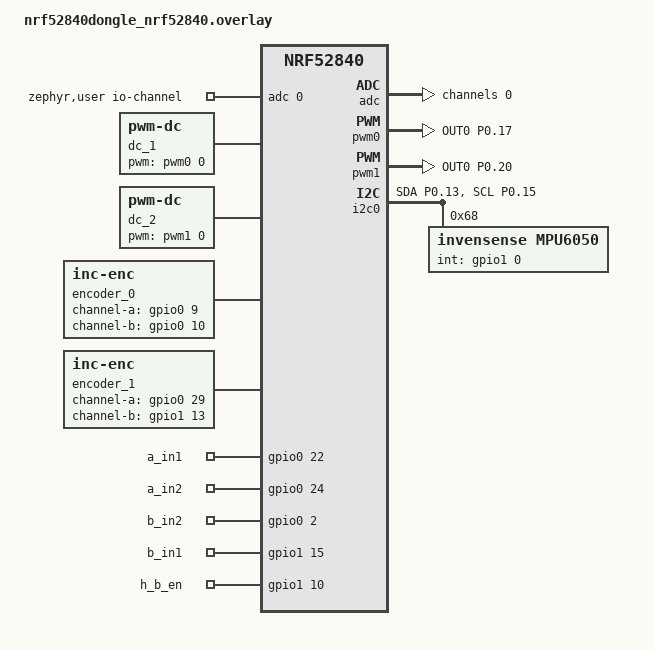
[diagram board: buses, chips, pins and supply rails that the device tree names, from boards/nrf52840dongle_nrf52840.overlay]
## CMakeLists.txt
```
cmake_minimum_required(VERSION 3.20.0)

find_package(Zephyr REQUIRED HINTS $ENV{ZEPHYR_BASE})

project(self-balancing-robot C CXX)

FILE(GLOB app_sources src/*.cpp)

target_sources(app PRIVATE ${app_sources})
```

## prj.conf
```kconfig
CONFIG_CPP=y
CONFIG_STD_CPP17=y
CONFIG_REQUIRES_FULL_LIBCPP=y

# Enable battery controller and logs:
CONFIG_BATTERY_LEVEL_DRV=y
CONFIG_BATTERY_LEVEL_LOG=n

# Enable motor controller and logs:
CONFIG_MOTOR_CONTROLLER_DRV=y
CONFIG_MOTOR_CONTROLLER_LOG=n

# Enable interface controller and logs:
CONFIG_INTERFACE_DRV=y
CONFIG_INTERFACE_LOG=n

# Enable IMU driver, logs and IMU calibration:
CONFIG_IMU_DRV=y
CONFIG_IMU_LOG=n
CONFIG_IMU_CALIBRATE_GYRO=n

# Enable robot control loop and logs:
CONFIG_ROBOT_CONTROL=y
CONFIG_ROBOT_CONTROL_LOG=y

# Balance controller selection: PID - y, LQR - n:
CONFIG_PID_ENABLED=y

# Enable model identification driver and logs:
CONFIG_MODEL_IDENTIFICATION_DRV=n
CONFIG_MODEL_IDENTIFICATION_LOG=n

# Enable logs from utils module:
CONFIG_UTILS_LOG=n

# Enable logger drivers:
CONFIG_LOGGER_DRV=y
CONFIG_LOG_OVER_SERIAL=y
CONFIG_LOG_OVER_BLE=y

# Enable app log:
CONFIG_APP_LOG=y

# Enable debug:
CONFIG_APP_DEBUG=y

# Enable FPU module for proper floats handling:
CONFIG_FPU=y

# ±4g for accelerometer:
CONFIG_MPU6050_ACCEL_FS=2

# ±500°/s for gyro: 
CONFIG_MPU6050_GYRO_FS=250

CONFIG_ENCODER_DRV=y

# Enable FOTA over Bluetooth LE
CONFIG_NCS_SAMPLE_MCUMGR_BT_OTA_DFU=y

CONFIG_BOARD_HAS_NRF5_BOOTLOADER=n

CONFIG_SHELL_DRV=y
```

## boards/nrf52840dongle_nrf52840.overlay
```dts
/ {
    zephyr,user {
        io-channels = <&adc 0>;
    };
};


&adc {
    status = "okay";
    #address-cells = <1>;
    #size-cells = <0>;

    channel@0 {
        reg = <0>;
        zephyr,gain = "ADC_GAIN_1_6";
        zephyr,reference = "ADC_REF_INTERNAL";
        zephyr,acquisition-time = <ADC_ACQ_TIME_DEFAULT>;
        zephyr,input-positive = <NRF_SAADC_AIN7>; /* P0.31 for nRF52840 Dongle */
        zephyr,resolution = <12>;
        zephyr,oversampling = <8>;
    };
};

&gpio0 {
    status = "okay";
    a_in_pins {
        compatible = "gpio-keys";
        a_in1: a_in1 {
            gpios = <&gpio0 22 GPIO_ACTIVE_HIGH>;
        };
        a_in2: a_in2 {
            gpios = <&gpio0 24 GPIO_ACTIVE_HIGH>;
        };
    };
    b_in_pins{
        compatible = "gpio-keys";
        b_in2: b_in2 {
            gpios = <&gpio0 2 GPIO_ACTIVE_HIGH>;
        };
    };
};

&gpio1 {
    status = "okay";
    b_in_pins{
        compatible = "gpio-keys";
        b_in1: b_in1 {
            gpios = <&gpio1 15 GPIO_ACTIVE_HIGH>;
        };
    };
    h_bridge_en_pin{
        compatible = "gpio-keys";
        h_b_en: h_b_en {
            gpios = <&gpio1 10 GPIO_ACTIVE_HIGH>;
        };
    };
};

/ {
    dc_1: dc_1 {
        compatible = "pwm-dc";
        pwms = <&pwm0 0 PWM_MSEC(20) PWM_POLARITY_NORMAL>;
    };

    dc_2: dc_2 {
        compatible = "pwm-dc";
        pwms = <&pwm1 0 PWM_MSEC(20) PWM_POLARITY_NORMAL>;
    };
};

/ {
    encoder_0: encoder_0 {
        compatible = "inc-enc";
        channel-a-gpios = <&gpio0 9 GPIO_ACTIVE_HIGH>;
        channel-b-gpios = <&gpio0 10 GPIO_ACTIVE_HIGH>;
    };

    encoder_1: encoder_1 {
        compatible = "inc-enc";
        channel-a-gpios = <&gpio0 29 GPIO_ACTIVE_HIGH>;
        channel-b-gpios = <&gpio1 13 GPIO_ACTIVE_HIGH>;
    };
};

&pwm0 {
    status = "okay";
    pinctrl-0 = <&pwm0_custom_motor>;
    pinctrl-1 = <&pwm0_csleep_motor>;
    pinctrl-names = "default", "sleep";
};

&pwm1 {
    status = "okay";
    pinctrl-0 = <&pwm1_custom_motor>;
    pinctrl-1 = <&pwm1_csleep_motor>;
    pinctrl-names = "default", "sleep";
};

&pinctrl {
    pwm0_custom_motor: pwm0_custom_motor {
        group1 {
            psels = <NRF_PSEL(PWM_OUT0, 0, 17)>;
            /*nordic,invert; - uncoment this if negative PWM is needed*/
        };
    };

    pwm0_csleep_motor: pwm0_csleep_motor {
        group1 {
            psels = <NRF_PSEL(PWM_OUT0, 0, 17)>;
            low-power-enable;
        };
    };

    pwm1_custom_motor: pwm1_custom_motor {
        group1 {
            psels = <NRF_PSEL(PWM_OUT0, 0, 20)>;
            /*nordic,invert; - uncoment this if negative PWM is needed*/
        };
    };

    pwm1_csleep_motor: pwm1_csleep_motor {
        group1 {
            psels = <NRF_PSEL(PWM_OUT0, 0, 20)>;
            low-power-enable;
        };
    };

    i2c0_default: i2c0_default {
        group1 {
            psels = <NRF_PSEL(TWIM_SDA, 0, 13)>,
                    <NRF_PSEL(TWIM_SCL, 0, 15)>;
        };
    };

    i2c0_sleep: i2c0_sleep {
        group1 {
            psels = <NRF_PSEL(TWIM_SDA, 0, 13)>,
                    <NRF_PSEL(TWIM_SCL, 0, 15)>;
        };
    };
};

/* Disabling uart to make pwm work - default uart pins and out pwm configuration overlaps which was causing pwm not to work properly */
&uart0 {
    compatible = "nordic,nrf-uarte";
    status = "disabled";
    current-speed = <115200>;
    pinctrl-0 = <&uart0_default>;
    pinctrl-1 = <&uart0_sleep>;
    pinctrl-names = "default", "sleep";
};

&i2c0 {
    status = "okay";
    pinctrl-0 = <&i2c0_default>;
    pinctrl-1 = <&i2c0_sleep>;
    pinctrl-names = "default", "sleep";

    mpu6050@68 {
        compatible = "invensense,mpu6050";
        reg = <0x68>;
        status = "okay";
        int-gpios = <&gpio1 0 GPIO_ACTIVE_HIGH>;
    };
};
```

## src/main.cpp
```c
#pragma GCC diagnostic ignored "-Wdouble-promotion"

#include "shell.h"

#ifdef CONFIG_APP_LOG
#include "logger.h"
#endif  // CONFIG_APP_LOG

#ifdef CONFIG_INTERFACE_DRV
#include "interface.h"
#define BLINKING_INTERVAL 500
#endif  // CONFIG_INTERFACE_DRV

#ifdef CONFIG_BATTERY_LEVEL_DRV
#include "battery_level.h"
#define MEASUREMENT_INTERVAL 9000

static void
new_battery_level_callback(battery_level_data data)
{
#ifdef CONFIG_APP_LOG
    platform_log("APP", LOG_LEVEL_INF, "bat lvl %u", data.battery_level_percent);
    platform_log("APP", LOG_LEVEL_INF, "bat lvl mv %u", data.battery_level_mv);
#endif  // CONFIG_APP_LOG
}
#endif  // CONFIG_BATTERY_LEVEL_DRV

#ifdef CONFIG_ROBOT_CONTROL
#ifdef CONFIG_MODEL_IDENTIFICATION_DRV
#include "control_loop.h"
#include "model_identification.h"
#endif  // CONFIG_MODEL_IDENTIFICATION_DRV
#endif  // CONFIG_ROBOT_CONTROL

int
main(void)
{

    //register_shell_commands();

#ifdef CONFIG_INTERFACE_DRV
#ifdef CONFIG_APP_LOG
    platform_log("APP", LOG_LEVEL_INF, "interface driver is enabled.");
#endif  // CONFIG_APP_LOG

    led_start_periodic_blinking(BLINKING_INTERVAL);
#endif  // CONFIG_INTERFACE_DRV

#ifdef CONFIG_BATTERY_LEVEL_DRV
#ifdef CONFIG_APP_LOG
    platform_log("APP", LOG_LEVEL_INF, "Battery level driver is enabled.");
#endif  // CONFIG_APP_LOG

    new_battery_level_cb_register(new_battery_level_callback);
    battery_start_periodic_measurement(MEASUREMENT_INTERVAL);
#endif  // CONFIG_BATTERY_LEVEL_DRV

#ifdef CONFIG_ROBOT_CONTROL
#ifdef CONFIG_MODEL_IDENTIFICATION_DRV
    new_send_identification_data_cb_register(new_regulator_data_for_identification);

#ifdef CONFIG_APP_LOG
    platform_log("APP", LOG_LEVEL_INF, "Model identification driver is enabled.");
#endif  // CONFIG_APP_LOG

#endif  // CONFIG_MODEL_IDENTIFICATION_DRV
#endif  // CONFIG_ROBOT_CONTROL

#ifdef CONFIG_APP_LOG
    platform_log("APP", LOG_LEVEL_INF, "Application started.");
#endif  // CONFIG_APP_LOG

}
```
